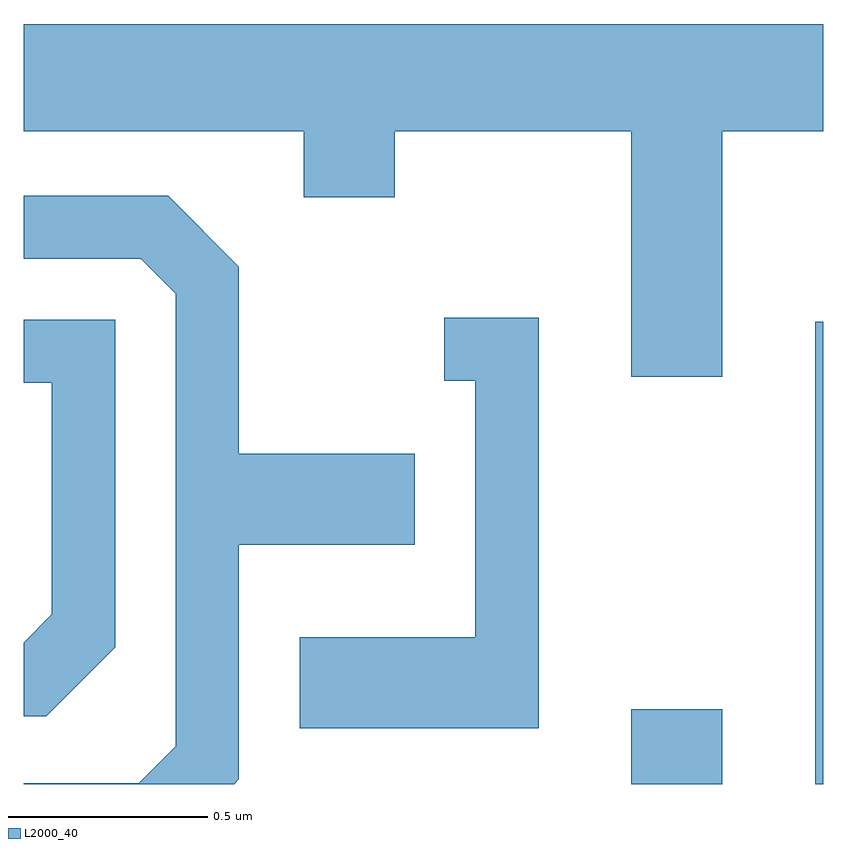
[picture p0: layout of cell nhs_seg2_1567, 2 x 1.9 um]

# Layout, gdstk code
import gdstk
lib = gdstk.Library(unit=1e-6, precision=1e-09)
def R(c, l, rs):  # rectangles x0, y0, x1, y1
    for r in rs: c.add(gdstk.rectangle(r[:2], r[2:], *l))
def P(c, l, *ps):  # polygons
    for p in ps: c.add(gdstk.Polygon(p, *l))
L2000_40 = (2000, 40)

nhs_seg2_1567 = lib.new_cell('nhs_seg2_1567')
R(nhs_seg2_1567, L2000_40, [(198.131,1037.802,198.359,1037.989), (198.591,1037.802,198.611,1038.959)])
P(nhs_seg2_1567, L2000_40, [(198.359,1039.436),(198.611,1039.436),(198.611,1039.704),(196.611,1039.704),(196.611,1039.436),(197.311,1039.436),(197.311,1039.271),(197.539,1039.271),(197.539,1039.436),(198.131,1039.436),(198.131,1038.821),(198.359,1038.821)],
  [(197.149,1037.814),(197.149,1038.401),(197.589,1038.401),(197.589,1038.629),(197.149,1038.629),(197.149,1039.097),(196.972,1039.274),(196.611,1039.274),(196.611,1039.116),(196.904,1039.116),(196.991,1039.029),(196.991,1037.897),(196.899,1037.804),(196.611,1037.804),(196.611,1037.802),(197.137,1037.802)],
  [(197.899,1038.969),(197.663,1038.969),(197.663,1038.811),(197.741,1038.811),(197.741,1038.169),(197.301,1038.169),(197.301,1037.941),(197.899,1037.941)],
  [(196.839,1038.144),(196.839,1038.964),(196.611,1038.964),(196.611,1038.806),(196.681,1038.806),(196.681,1038.227),(196.611,1038.156),(196.611,1037.971),(196.667,1037.971)])

lib.write_gds('nhs_seg2_1567.gds')
